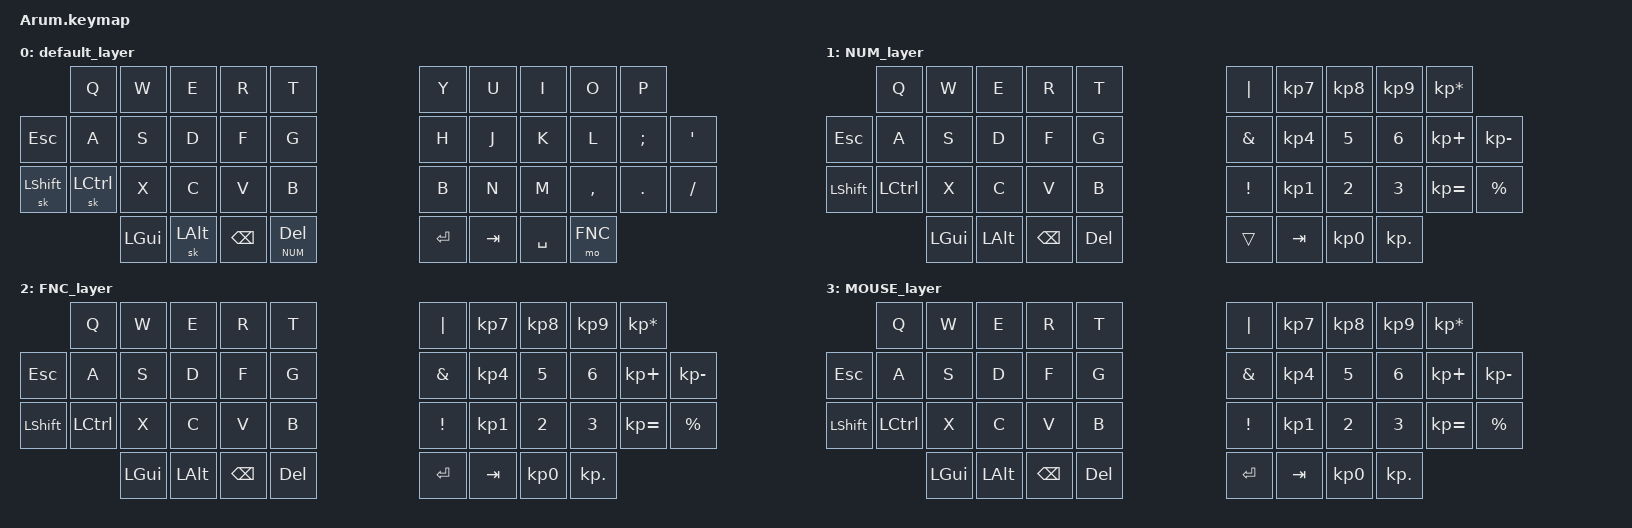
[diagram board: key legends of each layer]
#include <behaviors.dtsi>
#include <dt-bindings/zmk/keys.h>

#define DEFAULT 0
#define NUM     1
#define FNC     2
#define MOUSE   3

&lt {
    tapping-term-ms = <200>;
};

/ {
    keymap {
        compatible = "zmk,keymap";

        default_layer {
// --------------------------------------------------------------------------------------------------------------------------------------------------------------------
//           |    Q    |    W    |    E    |    R    |    T     |                              |    Y    |    U    |    I    |    O    |    P    |
// |   TAB   |    A    |    S    |    D    |    F    |    G     |                              |    H    |    J    |    K    |    L    |    ;    |    '    |
// |  SHIFT  |   CTRL  |    Z    |    X    |    C    |    V     |                              |    B    |    N    |    M    |    ,    |    .    |    /    |  
//                     |   GUI   |   ALT   |   BSPC  |   DEL    | RETURN  |            |  TAB  |  SPACE  |                   |  R ALT  |
            bindings = <
               &kp Q     &kp W    &kp E     &kp R     &kp T                                      &kp Y     &kp U     &kp I     &kp O     &kp P    
    &kp ESC    &kp A     &kp S    &kp D     &kp F     &kp G                                      &kp H     &kp J     &kp K     &kp L     &kp SEMI  &kp SQT
    &sk LSHIFT &sk LCTRL &kp X    &kp C     &kp V     &kp B                                      &kp B     &kp N     &kp M     &kp COMMA &kp DOT   &kp FSLH
                         &kp LGUI &sk LALT  &kp BSPC  &lt NUM DEL &kp RET               &kp TAB  &kp SPACE                     &mo FNC
            >;
        };

        NUM_layer {
// --------------------------------------------------------------------------------------------------------------------------------------------------------------------
//           |    Q    |    W    |    E    |    R    |    T    |                              |    |    |    7    |    8    |    9    |    *    |
// |   TAB   |    A    |    S    |    D    |    F    |    G    |                              |    &    |    4    |    5    |    6    |    +    |    -    |
// |  SHIFT  |   CTRL  |    Z    |    X    |    C    |    V    |                              |    !    |    1    |    2    |    3    |    =    |    %    |  
//                     |   GUI   |   ALT   |   BSPC  |   DEL   | RETURN  |            |   /   |    0    |                   |    .    |
            bindings = <
               &kp Q     &kp W    &kp E     &kp R     &kp T                                     &kp PIPE  &kp KP_N7 &kp KP_N8 &kp KP_N9  &kp KP_MULTIPLY     
    &kp ESC    &kp A     &kp S    &kp D     &kp F     &kp G                                     &kp AMPS  &kp KP_N4 &kp 5     &kp 6      &kp KP_PLUS &kp KP_MINUS
    &kp LSHIFT &kp LCTRL &kp X    &kp C     &kp V     &kp B                                     &kp EXCL  &kp KP_N1 &kp 2     &kp 3      &kp KP_EQUAL   &kp PRCNT
                         &kp LGUI &kp LALT  &kp BSPC  &kp DEL    &trans               &kp TAB  &kp KP_N0                     &kp KP_DOT 
            >;

        };

        FNC_layer {
// --------------------------------------------------------------------------------------------------------------------------------------------------------------------
//           |    Q    |    W    |    E    |    R    |    T    |                              |    |    |    7    |    8    |    9    |    *    |
// |   TAB   |    A    |    S    |    D    |    F    |    G    |                              |    &    |    4    |    5    |    6    |    +    |    -    |
// |  SHIFT  |   CTRL  |    Z    |    X    |    C    |    V    |                              |    !    |    1    |    2    |    3    |    =    |    %    |  
//                     |   GUI   |   ALT   |   BSPC  |   DEL   | RETURN  |            |   /   |    0    |                   |    .    |
            bindings = <
               &kp Q     &kp W    &kp E     &kp R     &kp T                                     &kp PIPE  &kp KP_N7 &kp KP_N8 &kp KP_N9  &kp KP_MULTIPLY     
    &kp ESC    &kp A     &kp S    &kp D     &kp F     &kp G                                     &kp AMPS  &kp KP_N4 &kp 5     &kp 6      &kp KP_PLUS &kp KP_MINUS
    &kp LSHIFT &kp LCTRL &kp X    &kp C     &kp V     &kp B                                     &kp EXCL  &kp KP_N1 &kp 2     &kp 3      &kp KP_EQUAL   &kp PRCNT
                         &kp LGUI &kp LALT  &kp BSPC  &kp DEL    &kp RET                &kp TAB  &kp KP_N0                     &kp KP_DOT 
            >;

        };
        
        MOUSE_layer {
// --------------------------------------------------------------------------------------------------------------------------------------------------------------------
//           |    Q    |    W    |    E    |    R    |    T    |                              |    |    |    7    |    8    |    9    |    *    |
// |   TAB   |    A    |    S    |    D    |    F    |    G    |                              |    &    |    4    |    5    |    6    |    +    |    -    |
// |  SHIFT  |   CTRL  |    Z    |    X    |    C    |    V    |                              |    !    |    1    |    2    |    3    |    =    |    %    |  
//                     |   GUI   |   ALT   |   BSPC  |   DEL   | RETURN  |            |   /   |    0    |                   |    .    |
            bindings = <
               &kp Q     &kp W    &kp E     &kp R     &kp T                                     &kp PIPE  &kp KP_N7 &kp KP_N8 &kp KP_N9  &kp KP_MULTIPLY     
    &kp ESC    &kp A     &kp S    &kp D     &kp F     &kp G                                     &kp AMPS  &kp KP_N4 &kp 5     &kp 6      &kp KP_PLUS &kp KP_MINUS
    &kp LSHIFT &kp LCTRL &kp X    &kp C     &kp V     &kp B                                     &kp EXCL  &kp KP_N1 &kp 2     &kp 3      &kp KP_EQUAL   &kp PRCNT
                         &kp LGUI &kp LALT  &kp BSPC  &kp DEL    &kp RET               &kp TAB  &kp KP_N0                     &kp KP_DOT 
            >;

        };
    };
};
